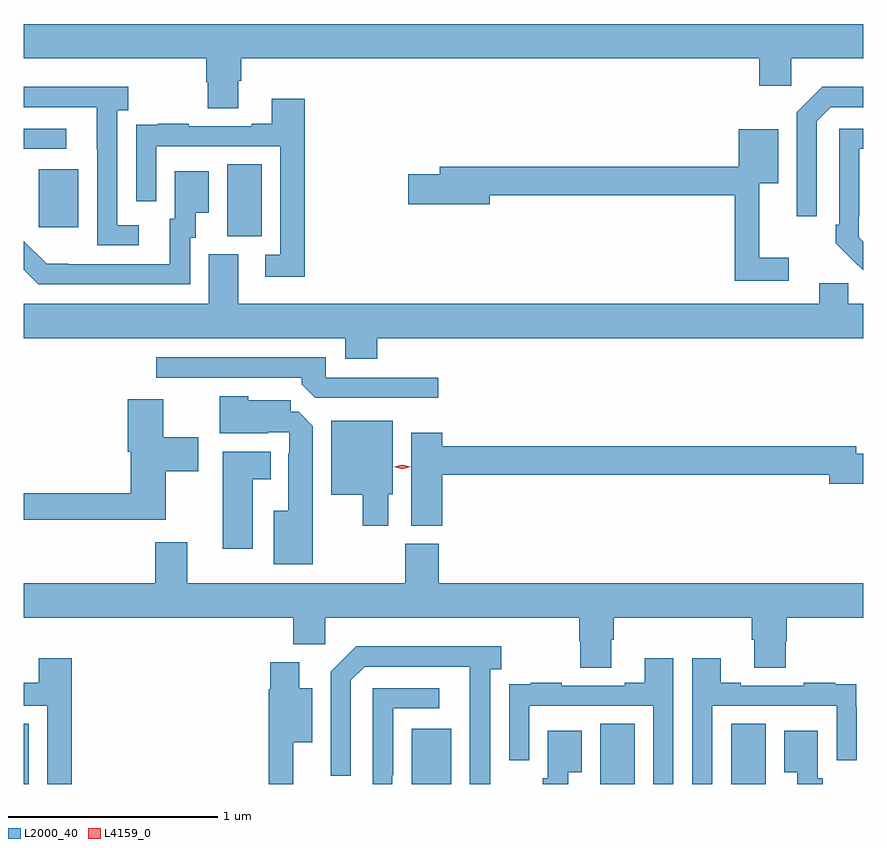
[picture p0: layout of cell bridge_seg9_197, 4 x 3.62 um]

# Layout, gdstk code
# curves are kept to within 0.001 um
import gdstk
lib = gdstk.Library(unit=1e-6, precision=1e-09)
def R(c, l, rs):  # rectangles x0, y0, x1, y1
    for r in rs: c.add(gdstk.rectangle(r[:2], r[2:], *l))
def P(c, l, *ps):  # polygons
    for p in ps: c.add(gdstk.Polygon(p, *l))
L2000_40 = (2000, 40)
L4159_0 = (4159, 0)

bridge_seg9_197 = lib.new_cell('bridge_seg9_197')
R(bridge_seg9_197, L2000_40, [(170.164,1187.636,170.188,1187.924), (172.013,1187.636,172.201,1187.899), (172.91,1187.636,173.074,1187.924), (173.534,1187.636,173.698,1187.924), (171.134,1190.245,171.298,1190.588), (170.237,1190.289,170.425,1190.563), (170.164,1190.661,170.368,1190.757)])
P(bridge_seg9_197, L2000_40, [(171.187,1190.986),(171.2,1190.986),(171.2,1191.092),(173.669,1191.092),(173.669,1190.961),(173.82,1190.961),(173.82,1191.092),(174.164,1191.092),(174.164,1191.256),(170.164,1191.256),(170.164,1191.092),(171.035,1191.092),(171.035,1190.979),(171.04,1190.979),(171.04,1190.854),(171.187,1190.854)],
  [(173.943,1190.793),(174.009,1190.859),(174.164,1190.859),(174.164,1190.956),(173.968,1190.956),(173.847,1190.835),(173.847,1190.34),(173.943,1190.34)],
  [(170.713,1190.298),(170.61,1190.298),(170.61,1190.846),(170.662,1190.846),(170.662,1190.956),(170.164,1190.956),(170.164,1190.859),(170.513,1190.859),(170.513,1190.659),(170.514,1190.659),(170.514,1190.202),(170.713,1190.202)],
  [(171.503,1190.899),(171.347,1190.899),(171.347,1190.782),(171.251,1190.782),(171.251,1190.769),(170.951,1190.769),(170.951,1190.782),(170.803,1190.782),(170.803,1190.775),(170.701,1190.775),(170.701,1190.666),(170.7,1190.666),(170.7,1190.412),(170.796,1190.412),(170.796,1190.673),(171.387,1190.673),(171.387,1190.157),(171.315,1190.157),(171.315,1190.052),(171.503,1190.052)],
  [(174.164,1190.218),(174.141,1190.241),(174.141,1190.341),(174.144,1190.341),(174.144,1190.661),(174.164,1190.661),(174.164,1190.757),(174.048,1190.757),(174.048,1190.299),(174.033,1190.299),(174.033,1190.211),(174.138,1190.106),(174.139,1190.107),(174.164,1190.082)],
  [(173.809,1190.143),(173.669,1190.143),(173.669,1190.498),(173.758,1190.498),(173.758,1190.755),(173.571,1190.755),(173.571,1190.576),(172.145,1190.576),(172.145,1190.54),(171.996,1190.54),(171.996,1190.398),(172.384,1190.398),(172.384,1190.44),(173.551,1190.44),(173.551,1190.034),(173.809,1190.034)],
  [(170.958,1190.238),(170.983,1190.238),(170.983,1190.357),(171.046,1190.357),(171.046,1190.554),(170.885,1190.554),(170.885,1190.328),(170.861,1190.328),(170.861,1190.112),(170.274,1190.113),(170.164,1190.222),(170.164,1190.086),(170.234,1190.016),(170.958,1190.016)],
  [(171.848,1189.76),(174.164,1189.76),(174.164,1189.924),(174.093,1189.924),(174.093,1190.022),(173.954,1190.022),(173.954,1189.924),(171.187,1189.924),(171.187,1190.16),(171.047,1190.16),(171.047,1189.924),(170.164,1189.924),(170.164,1189.76),(171.695,1189.76),(171.695,1189.661),(171.848,1189.661)],
  [(172.138,1189.572),(171.603,1189.572),(171.603,1189.668),(170.796,1189.668),(170.796,1189.572),(171.488,1189.572),(171.488,1189.541),(171.553,1189.476),(172.138,1189.476)],
  [(171.541,1189.341),(171.475,1189.408),(171.437,1189.408),(171.437,1189.465),(171.234,1189.465),(171.234,1189.483),(171.098,1189.483),(171.098,1189.307),(171.329,1189.307),(171.329,1189.311),(171.429,1189.311),(171.429,1189.211),(171.425,1189.211),(171.425,1188.937),(171.356,1188.937),(171.356,1188.683),(171.541,1188.683)],
  [(170.842,1189.126),(170.995,1189.126),(170.995,1189.288),(170.83,1189.288),(170.83,1189.468),(170.66,1189.468),(170.66,1189.219),(170.675,1189.219),(170.675,1189.022),(170.164,1189.022),(170.164,1188.894),(170.842,1188.894)],
  [(171.901,1189.017),(171.922,1189.017),(171.922,1189.366),(171.629,1189.366),(171.629,1189.013),(171.779,1189.013),(171.779,1188.867),(171.901,1188.867)],
  [(172.157,1189.108),(174.002,1189.108),(174.002,1189.066),(174.164,1189.066),(174.164,1189.208),(174.13,1189.208),(174.13,1189.244),(172.157,1189.244),(172.157,1189.309),(172.01,1189.309),(172.01,1188.865),(172.157,1188.865)],
  [(171.256,1189.088),(171.34,1189.088),(171.34,1189.219),(171.113,1189.219),(171.113,1188.756),(171.256,1188.756)],
  [(172.963,1188.322),(172.976,1188.322),(172.976,1188.428),(173.633,1188.428),(173.633,1188.322),(173.645,1188.322),(173.645,1188.19),(173.793,1188.19),(173.793,1188.315),(173.798,1188.315),(173.798,1188.428),(174.164,1188.428),(174.164,1188.592),(172.142,1188.592),(172.142,1188.78),(171.982,1188.78),(171.982,1188.592),(170.944,1188.592),(170.944,1188.787),(170.792,1188.787),(170.792,1188.592),(170.164,1188.592),(170.164,1188.428),(171.449,1188.428),(171.449,1188.302),(171.6,1188.302),(171.6,1188.428),(172.811,1188.428),(172.811,1188.315),(172.816,1188.315),(172.816,1188.19),(172.963,1188.19)],
  [(172.386,1188.182),(172.438,1188.182),(172.438,1188.292),(171.748,1188.292),(171.627,1188.171),(171.627,1187.676),(171.723,1187.676),(171.723,1188.129),(171.789,1188.195),(172.289,1188.195),(172.29,1187.636),(172.386,1187.636)],
  [(173.445,1188.009),(174.036,1188.009),(174.036,1187.748),(174.132,1187.748),(174.132,1188.002),(174.131,1188.002),(174.131,1188.111),(174.029,1188.111),(174.029,1188.118),(173.881,1188.118),(173.881,1188.105),(173.581,1188.105),(173.581,1188.118),(173.485,1188.118),(173.485,1188.235),(173.349,1188.235),(173.349,1187.636),(173.445,1187.636)],
  [(170.393,1188.235),(170.237,1188.235),(170.237,1188.118),(170.164,1188.118),(170.164,1188.009),(170.277,1188.009),(170.277,1187.636),(170.393,1187.636)],
  [(173.259,1188.235),(173.123,1188.235),(173.123,1188.118),(173.027,1188.118),(173.027,1188.105),(172.727,1188.105),(172.727,1188.118),(172.579,1188.118),(172.579,1188.111),(172.477,1188.111),(172.477,1188.002),(172.476,1188.002),(172.476,1187.748),(172.572,1187.748),(172.572,1188.009),(173.163,1188.009),(173.163,1187.636),(173.259,1187.636)],
  [(171.449,1187.834),(171.538,1187.834),(171.538,1188.091),(171.478,1188.091),(171.478,1188.217),(171.338,1188.217),(171.338,1188.087),(171.331,1188.087),(171.331,1187.636),(171.449,1187.636)],
  [(171.921,1187.677),(171.924,1187.677),(171.924,1187.997),(172.144,1187.997),(172.144,1188.093),(171.828,1188.093),(171.828,1187.636),(171.921,1187.636)],
  [(173.971,1187.664),(173.947,1187.664),(173.947,1187.89),(173.786,1187.89),(173.786,1187.693),(173.849,1187.693),(173.849,1187.636),(173.971,1187.636)],
  [(172.759,1187.693),(172.822,1187.693),(172.822,1187.89),(172.661,1187.89),(172.661,1187.664),(172.637,1187.664),(172.637,1187.636),(172.759,1187.636)])
P(bridge_seg9_197, L4159_0, [(171.967,1189.136),(171.929,1189.146),(171.929,1189.146),(171.929,1189.147),(171.967,1189.156),(172.005,1189.147),(172.005,1189.146),(172.005,1189.146)])

lib.write_gds('bridge_seg9_197.gds')
